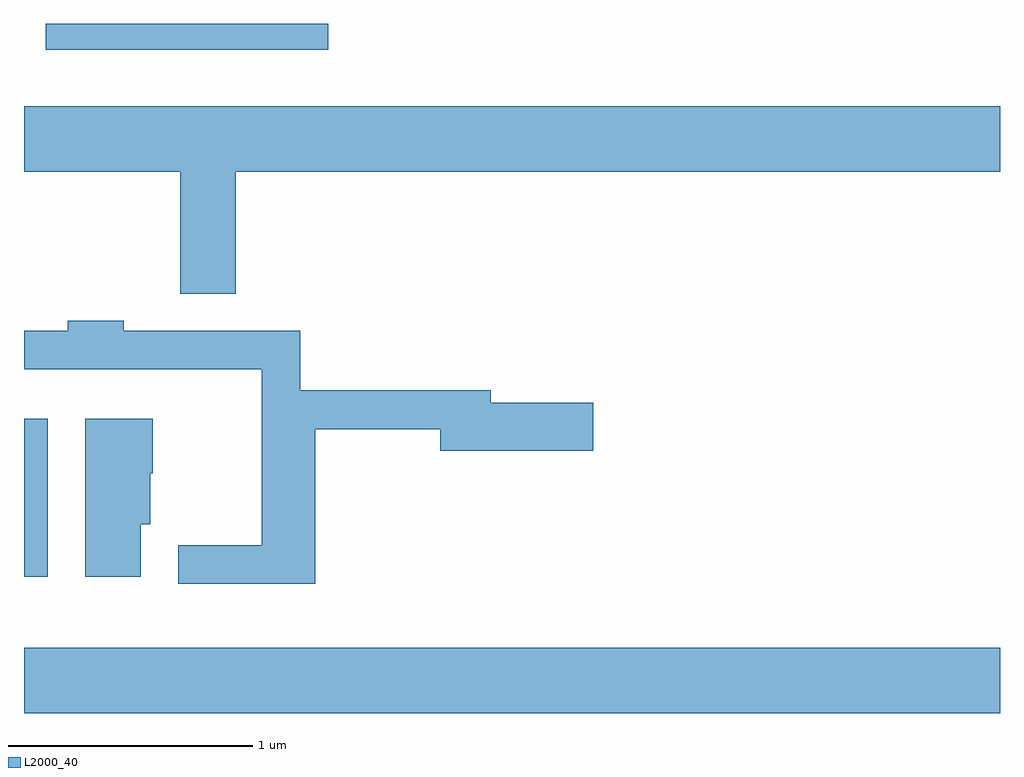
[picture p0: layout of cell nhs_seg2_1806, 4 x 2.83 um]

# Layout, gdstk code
import gdstk
lib = gdstk.Library(unit=1e-6, precision=1e-09)
def R(c, l, rs):  # rectangles x0, y0, x1, y1
    for r in rs: c.add(gdstk.rectangle(r[:2], r[2:], *l))
def P(c, l, *ps):  # polygons
    for p in ps: c.add(gdstk.Polygon(p, *l))
L2000_40 = (2000, 40)

nhs_seg2_1806 = lib.new_cell('nhs_seg2_1806')
R(nhs_seg2_1806, L2000_40, [(237.611,1054.976,241.611,1055.244), (237.611,1055.536,237.709,1056.184), (237.701,1057.696,238.858,1057.802)])
P(nhs_seg2_1806, L2000_40, [(238.479,1057.196),(241.611,1057.196),(241.611,1057.464),(237.611,1057.464),(237.611,1057.196),(238.251,1057.196),(238.251,1056.696),(238.479,1056.696)],
  [(238.804,1056.141),(239.316,1056.141),(239.316,1056.051),(239.944,1056.051),(239.944,1056.249),(239.524,1056.249),(239.524,1056.299),(238.744,1056.299),(238.744,1056.544),(238.019,1056.544),(238.019,1056.584),(237.791,1056.584),(237.791,1056.544),(237.611,1056.544),(237.611,1056.386),(238.586,1056.386),(238.586,1055.664),(238.243,1055.664),(238.243,1055.506),(238.804,1055.506)],
  [(238.089,1055.751),(238.129,1055.751),(238.129,1055.96),(238.139,1055.96),(238.139,1056.184),(237.861,1056.184),(237.861,1055.536),(238.089,1055.536)])

lib.write_gds('nhs_seg2_1806.gds')
